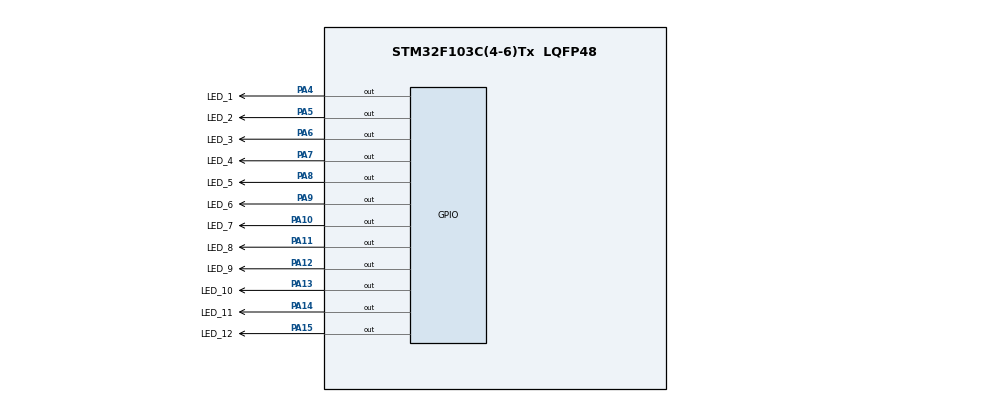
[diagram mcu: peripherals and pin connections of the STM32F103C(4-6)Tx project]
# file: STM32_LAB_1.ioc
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Mcu.Family=STM32F1
Mcu.Name=STM32F103C(4-6)Tx
Mcu.Package=LQFP48
NVIC.PriorityGroup=NVIC_PRIORITYGROUP_4
PA10.GPIO_Label=LED_7
PA10.Signal=GPIO_Output
PA11.GPIO_Label=LED_8
PA11.Signal=GPIO_Output
PA12.GPIO_Label=LED_9
PA12.Signal=GPIO_Output
PA13.GPIO_Label=LED_10
PA13.Signal=GPIO_Output
PA14.GPIO_Label=LED_11
PA14.Signal=GPIO_Output
PA15.GPIO_Label=LED_12
PA15.Signal=GPIO_Output
PA4.GPIO_Label=LED_1
PA4.Signal=GPIO_Output
PA5.GPIO_Label=LED_2
PA5.Signal=GPIO_Output
PA6.GPIO_Label=LED_3
PA6.Signal=GPIO_Output
PA7.GPIO_Label=LED_4
PA7.Signal=GPIO_Output
PA8.GPIO_Label=LED_5
PA8.Signal=GPIO_Output
PA9.GPIO_Label=LED_6
PA9.Signal=GPIO_Output
ProjectManager.HeapSize=0x200
ProjectManager.StackSize=0x400
ProjectManager.TargetToolchain=STM32CubeIDE
RCC.APB1Freq_Value=8000000
RCC.APB2Freq_Value=8000000
VP_SYS_VS_ND.Mode=No_Debug
board=custom

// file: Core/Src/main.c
/* USER CODE BEGIN Header */
/**
  ******************************************************************************
  * @file           : main.c
  * @brief          : Main program body
  ******************************************************************************
  * @attention
  *
  * <h2><center>&copy; Copyright (c) 2024 STMicroelectronics.
  * All rights reserved.</center></h2>
  *
  * This software component is licensed by ST under BSD 3-Clause license,
  * the "License"; You may not use this file except in compliance with the
  * License. You may obtain a copy of the License at:
  *                        opensource.org/licenses/BSD-3-Clause
  *
  ******************************************************************************
  */
/* USER CODE END Header */
#include "main.h"

void SystemClock_Config(void);
static void MX_GPIO_Init(void);
/* USER CODE BEGIN PFP */
void clearAllClock();
void setNumberOnClock(int num);
void clearNumberOnClock(int num);

int n_sec = 8;
int n_min = 30;
int n_hour = 4;

int c_sec = 2;
int c_blink_min = 10;
int sw_min = 0;
/* USER CODE END PFP */

int main(void)
{

  /* MCU Configuration--------------------------------------------------------*/

  /* Reset of all peripherals, Initializes the Flash interface and the Systick. */
  HAL_Init();

  /* Configure the system clock */
  SystemClock_Config();

  /* Initialize all configured peripherals */
  MX_GPIO_Init();
  clearAllClock();

  /* Infinite loop */
  while (1)
  {
	  if (n_sec >= 60)
	  	  	  {
	  	  		  n_sec = 0;
	  	  		  n_min++;
	  	  		  if (n_min >= 60)
	  	  		  {
	  	  			  n_min = 0;
	  	  			  clearNumberOnClock(n_hour);
	  	  			  n_hour++;
	  	  			  if (n_hour >= 12)
	  	  			  {
	  	  				  n_hour = 0;
	  	  			  }
	  	  		  }
	  	  	  }
	  	  	  if (c_sec <= 0)
	  	  	  {
	  	  		  n_sec++;
	  	  		  c_sec = 2;
	  	  	  }

	  	  	  if (n_sec % 5 == 0)
	  	  	  {
	  	  		  if (n_sec / 5 == 0) clearNumberOnClock(11);
	  	  		  else clearNumberOnClock(n_sec / 5 - 1);
	  	  		  setNumberOnClock(n_sec / 5);
	  	  	  }

	  	  	  setNumberOnClock(n_hour);

	  	  	  if (c_blink_min <= 0)
	  	  	  {
	  	  		  switch (sw_min)
	  	  		  {
	  	  		  	  case 0:
	  	  		  		  setNumberOnClock(n_min / 5);
	  	  		  		  sw_min = 1;
	  	  		  		  break;
	  	  		  	  case 1:
	  	  				  clearNumberOnClock(n_min / 5);
	  	  				  sw_min = 0;
	  	  				  break;
	  	  		  }
	  	  		  c_blink_min = 10;
	  	  	  }

	  	  	  c_blink_min--;
	  	  	  c_sec--;

	  	  	  HAL_Delay(10);
  }
}

void SystemClock_Config(void)
{
  RCC_OscInitTypeDef RCC_OscInitStruct = {0};
  RCC_ClkInitTypeDef RCC_ClkInitStruct = {0};

  /** Initializes the RCC Oscillators according to the specified parameters
  * in the RCC_OscInitTypeDef structure.
  */
  RCC_OscInitStruct.OscillatorType = RCC_OSCILLATORTYPE_HSI;
  RCC_OscInitStruct.HSIState = RCC_HSI_ON;
  RCC_OscInitStruct.HSICalibrationValue = RCC_HSICALIBRATION_DEFAULT;
  RCC_OscInitStruct.PLL.PLLState = RCC_PLL_NONE;
  if (HAL_RCC_OscConfig(&RCC_OscInitStruct) != HAL_OK)
  {
    Error_Handler();
  }
  /** Initializes the CPU, AHB and APB buses clocks
  */
  RCC_ClkInitStruct.ClockType = RCC_CLOCKTYPE_HCLK|RCC_CLOCKTYPE_SYSCLK
                              |RCC_CLOCKTYPE_PCLK1|RCC_CLOCKTYPE_PCLK2;
  RCC_ClkInitStruct.SYSCLKSource = RCC_SYSCLKSOURCE_HSI;
  RCC_ClkInitStruct.AHBCLKDivider = RCC_SYSCLK_DIV1;
  RCC_ClkInitStruct.APB1CLKDivider = RCC_HCLK_DIV1;
  RCC_ClkInitStruct.APB2CLKDivider = RCC_HCLK_DIV1;

  if (HAL_RCC_ClockConfig(&RCC_ClkInitStruct, FLASH_LATENCY_0) != HAL_OK)
  {
    Error_Handler();
  }
}

static void MX_GPIO_Init(void)
{
  GPIO_InitTypeDef GPIO_InitStruct = {0};

  /* GPIO Ports Clock Enable */
  __HAL_RCC_GPIOA_CLK_ENABLE();

  /*Configure GPIO pin Output Level */
  HAL_GPIO_WritePin(GPIOA, LED_1_Pin|LED_2_Pin|LED_3_Pin|LED_4_Pin
                          |LED_5_Pin|LED_6_Pin|LED_7_Pin|LED_8_Pin
                          |LED_9_Pin|LED_10_Pin|LED_11_Pin|LED_12_Pin, GPIO_PIN_RESET);

  /*Configure GPIO pins : LED_1_Pin LED_2_Pin LED_3_Pin LED_4_Pin
                           LED_5_Pin LED_6_Pin LED_7_Pin LED_8_Pin
                           LED_9_Pin LED_10_Pin LED_11_Pin LED_12_Pin */
  GPIO_InitStruct.Pin = LED_1_Pin|LED_2_Pin|LED_3_Pin|LED_4_Pin
                          |LED_5_Pin|LED_6_Pin|LED_7_Pin|LED_8_Pin
                          |LED_9_Pin|LED_10_Pin|LED_11_Pin|LED_12_Pin;
  GPIO_InitStruct.Mode = GPIO_MODE_OUTPUT_PP;
  GPIO_InitStruct.Pull = GPIO_NOPULL;
  GPIO_InitStruct.Speed = GPIO_SPEED_FREQ_LOW;
  HAL_GPIO_Init(GPIOA, &GPIO_InitStruct);

}

/* USER CODE BEGIN 4 */
void clearAllClock()
{
    for (int i = LED_1_Pin; i <= LED_12_Pin; i++) {
        HAL_GPIO_WritePin(LED_1_GPIO_Port, i, GPIO_PIN_RESET);
    }
}

void setNumberOnClock(int num)
{
	switch(num)
	{
		case 0:
			HAL_GPIO_WritePin(LED_12_GPIO_Port, LED_12_Pin, GPIO_PIN_SET);
			break;
		case 1:
			HAL_GPIO_WritePin(LED_1_GPIO_Port, LED_1_Pin, GPIO_PIN_SET);
			break;
		case 2:
			HAL_GPIO_WritePin(LED_2_GPIO_Port, LED_2_Pin, GPIO_PIN_SET);
			break;
		case 3:
			HAL_GPIO_WritePin(LED_3_GPIO_Port, LED_3_Pin, GPIO_PIN_SET);
			break;
		case 4:
			HAL_GPIO_WritePin(LED_4_GPIO_Port, LED_4_Pin, GPIO_PIN_SET);
			break;
		case 5:
			HAL_GPIO_WritePin(LED_5_GPIO_Port, LED_5_Pin, GPIO_PIN_SET);
			break;
		case 6:
			HAL_GPIO_WritePin(LED_6_GPIO_Port, LED_6_Pin, GPIO_PIN_SET);
			break;
		case 7:
			HAL_GPIO_WritePin(LED_7_GPIO_Port, LED_7_Pin, GPIO_PIN_SET);
			break;
		case 8:
			HAL_GPIO_WritePin(LED_8_GPIO_Port, LED_8_Pin, GPIO_PIN_SET);
			break;
		case 9:
			HAL_GPIO_WritePin(LED_9_GPIO_Port, LED_9_Pin, GPIO_PIN_SET);
			break;
		case 10:
			HAL_GPIO_WritePin(LED_10_GPIO_Port, LED_10_Pin, GPIO_PIN_SET);
			break;
		case 11:
			HAL_GPIO_WritePin(LED_11_GPIO_Port, LED_11_Pin, GPIO_PIN_SET);
			break;
	}
}

void clearNumberOnClock(int num)
{
	switch(num)
	{
		case 0:
			HAL_GPIO_WritePin(LED_12_GPIO_Port, LED_12_Pin, GPIO_PIN_RESET);
			break;
		case 1:
			HAL_GPIO_WritePin(LED_1_GPIO_Port, LED_1_Pin, GPIO_PIN_RESET);
			break;
		case 2:
			HAL_GPIO_WritePin(LED_2_GPIO_Port, LED_2_Pin, GPIO_PIN_RESET);
			break;
		case 3:
			HAL_GPIO_WritePin(LED_3_GPIO_Port, LED_3_Pin, GPIO_PIN_RESET);
			break;
		case 4:
			HAL_GPIO_WritePin(LED_4_GPIO_Port, LED_4_Pin, GPIO_PIN_RESET);
			break;
		case 5:
			HAL_GPIO_WritePin(LED_5_GPIO_Port, LED_5_Pin, GPIO_PIN_RESET);
			break;
		case 6:
			HAL_GPIO_WritePin(LED_6_GPIO_Port, LED_6_Pin, GPIO_PIN_RESET);
			break;
		case 7:
			HAL_GPIO_WritePin(LED_7_GPIO_Port, LED_7_Pin, GPIO_PIN_RESET);
			break;
		case 8:
			HAL_GPIO_WritePin(LED_8_GPIO_Port, LED_8_Pin, GPIO_PIN_RESET);
			break;
		case 9:
			HAL_GPIO_WritePin(LED_9_GPIO_Port, LED_9_Pin, GPIO_PIN_RESET);
			break;
		case 10:
			HAL_GPIO_WritePin(LED_10_GPIO_Port, LED_10_Pin, GPIO_PIN_RESET);
			break;
		case 11:
			HAL_GPIO_WritePin(LED_11_GPIO_Port, LED_11_Pin, GPIO_PIN_RESET);
			break;
	}
}
/* USER CODE END 4 */

void Error_Handler(void)
{
  __disable_irq();
  while (1)
  {
  }
}

/************************ (C) COPYRIGHT STMicroelectronics *****END OF FILE****/
